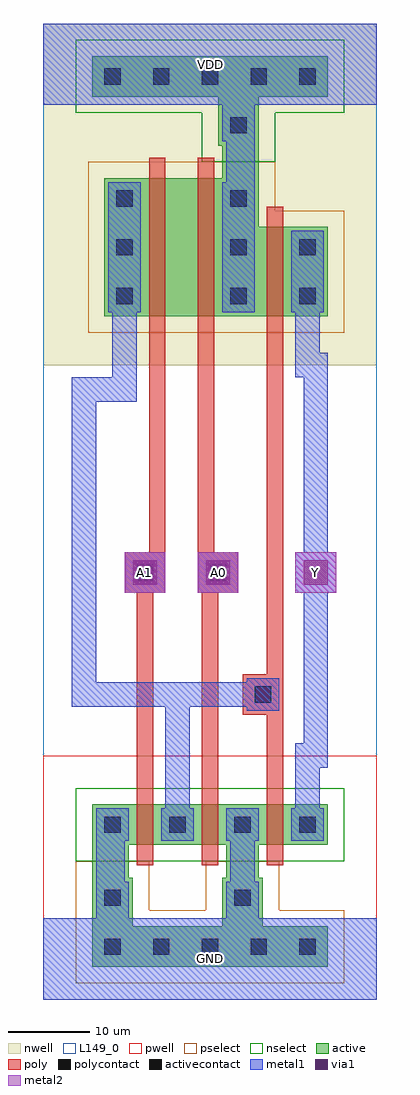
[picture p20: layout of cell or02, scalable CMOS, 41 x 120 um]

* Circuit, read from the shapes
.subckt or02 A0 A1 GND VDD Y
M1 n1 A1 GND GND nfet w=5u l=2u
M2 GND A0 n1 GND nfet w=5u l=2u
M3 Y n1 GND GND nfet w=5u l=2u
M4 n2 A1 n1 VDD pfet w=17u l=2u
M5 VDD A0 n2 VDD pfet w=17u l=2u
M6 Y n1 VDD VDD pfet w=11u l=2u
.ends

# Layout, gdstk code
import gdstk
lib = gdstk.Library(unit=1e-6, precision=1e-09)
def R(c, l, rs):  # rectangles x0, y0, x1, y1
    for r in rs: c.add(gdstk.rectangle(r[:2], r[2:], *l))
def A(c, l, x, y, w, h, nx, ny, dx, dy):  # array of equal rectangles
    R(c, l, [(x+i*dx, y+j*dy, x+i*dx+w, y+j*dy+h) for i in range(nx) for j in range(ny)])
def P(c, l, *ps):  # polygons
    for p in ps: c.add(gdstk.Polygon(p, *l))
pwell = (41, 0)
nwell = (42, 0)
active = (43, 0)
pselect = (44, 0)
nselect = (45, 0)
poly = (46, 0)
polycontact = (47, 0)
activecontact = (48, 0)
metal1 = (49, 0)
via1 = (50, 0)
metal2 = (51, 0)
L149_0 = (149, 0)

via = lib.new_cell('via')
R(via, metal1, [(-2.5,-2.5,2.5,2.5)])
R(via, via1, [(-1.5,-1.5,1.5,1.5)])
R(via, metal2, [(-2.5,-2.5,2.5,2.5)])

or02 = lib.new_cell('or02')
R(or02, pwell, [(0,0,41,30), (0,13,41,30)])
R(or02, nwell, [(0,78,41,120)])
P(or02, nwell, [(1.5,78),(1.5,107),(32.5,107),(32.5,101),(41,101),(41,78)])
R(or02, active, [(6,4,35,9), (6,9,11,15), (22,9,27,15), (6,15,10.5,19), (22.5,15,26.5,19), (6,19,11.5,24), (6,19,35,24), (29.5,19,35,24), (7.5,84,13,101), (29.5,84,35,95), (22,101,26.5,105), (21.5,105,26.5,111), (6,111,35,116)])
P(or02, active, [(7.5,84),(7.5,101),(26.5,101),(26.5,95),(35,95),(35,84)])
R(or02, pselect, [(4,2,37,11), (4,11,13,17), (20,11,29,17)])
P(or02, pselect, [(5.5,82),(5.5,103),(28.5,103),(28.5,97),(37,97),(37,82)])
R(or02, nselect, [(4,17,37,26), (19.5,103,28.5,109), (4,109,37,118)])
A(or02, poly, 11.5, 16.5, 2, 2.5, 3, 2, 8, 7.5)
A(or02, poly, 11.5, 19, 2, 5, 3, 1, 8, 0)
R(or02, poly, [(24.5,35,29.5,40), (10,50,15,55), (19,50,24,55), (13,81.5,15,84), (19,81.5,21,84), (27.5,81.5,29.5,84), (13,84,15,101), (19,84,21,101), (27.5,84,29.5,95), (27.5,95,29.5,97.5), (13,101,15,103.5), (19,101,21,103.5)])
R(or02, polycontact, [(26,36.5,28,38.5), (11.5,51.5,13.5,53.5), (20.5,51.5,22.5,53.5)])
A(or02, activecontact, 7.5, 5.5, 2, 2, 5, 2, 6, 107)
A(or02, activecontact, 7.5, 20.5, 2, 2, 4, 1, 8, 0)
A(or02, activecontact, 9, 85.5, 2, 2, 1, 3, 0, 6)
A(or02, activecontact, 23, 85.5, 2, 2, 1, 3, 0, 6)
R(or02, activecontact, [(7.5,11.5,9.5,13.5), (23.5,11.5,25.5,13.5), (31.5,85.5,33.5,87.5), (31.5,91.5,33.5,93.5), (23,106.5,25,108.5)])
A(or02, metal1, 6.5, 19.5, 4, 4, 4, 1, 8, 0)
R(or02, metal1, [(0,0,41,10), (6.5,10,10.5,14.5), (22.5,10,26.5,14.5), (6.5,14.5,10,19.5), (23,14.5,26,19.5), (25,35.5,29,39.5), (10.5,50.5,14.5,54.5), (19.5,50.5,23.5,54.5), (8,84.5,12,100.5), (22,84.5,26,100.5), (30.5,84.5,34.5,94.5), (22.5,100.5,26,105.5), (22,105.5,26,110), (0,110,41,120)])
R(or02, metal2, [(10,50,15,55), (19,50,24,55), (31,50,36,55)])
R(or02, L149_0, [(0,0,41,120)])
or02.add(gdstk.FlexPath([(16.5,36),(16.5,23.5)], 3, ends="flush", simple_path=True, layer=49, datatype=0))  # metal1
or02.add(gdstk.FlexPath([(33.5,50),(33.5,30),(32.5,30),(32.5,23.5)], 3, ends="flush", simple_path=True, layer=49, datatype=0))  # metal1
or02.add(gdstk.FlexPath([(33.5,55),(33.5,78),(32.5,78),(32.5,84.5)], 3, ends="flush", simple_path=True, layer=49, datatype=0))  # metal1
or02.add(gdstk.FlexPath([(25,37.5),(5,37.5),(5,75),(10,75),(10,84.5)], 3, ends="flush", simple_path=True, layer=49, datatype=0))  # metal1
or02.add(gdstk.FlexPath([(28.5,81.5),(28.5,26.5)], 2, ends="flush", simple_path=True, layer=46, datatype=0))  # poly
or02.add(gdstk.FlexPath([(12.5,26.5),(12.5,50)], 2, ends="flush", simple_path=True, layer=46, datatype=0))  # poly
or02.add(gdstk.FlexPath([(20.5,26.5),(20.5,50)], 2, ends="flush", simple_path=True, layer=46, datatype=0))  # poly
or02.add(gdstk.FlexPath([(14,81.5),(14,55)], 2, ends="flush", simple_path=True, layer=46, datatype=0))  # poly
or02.add(gdstk.FlexPath([(20,81.5),(20,55)], 2, ends="flush", simple_path=True, layer=46, datatype=0))  # poly
or02.add(gdstk.Reference(via, (33.5,52.5)))
or02.add(gdstk.Reference(via, (12.5,52.5)))
or02.add(gdstk.Reference(via, (21.5,52.5)))
or02.add(gdstk.Label('GND', (20.5,5), layer=2, texttype=0))
or02.add(gdstk.Label('VDD', (20.5,115), layer=2, texttype=0))
or02.add(gdstk.Label('A1', (12.5,52.5), layer=3, texttype=0))
or02.add(gdstk.Label('A0', (21.5,52.5), layer=3, texttype=0))
or02.add(gdstk.Label('Y', (33.5,52.5), layer=3, texttype=0))
or02.add(gdstk.Label('GND', (20.5,5), layer=2, texttype=0))
or02.add(gdstk.Label('VDD', (20.5,115), layer=2, texttype=0))
or02.add(gdstk.Label('A1', (12.5,52.5), layer=3, texttype=0))
or02.add(gdstk.Label('A0', (21.5,52.5), layer=3, texttype=0))
or02.add(gdstk.Label('Y', (33.5,52.5), layer=3, texttype=0))

lib.write_gds('or02.gds')
